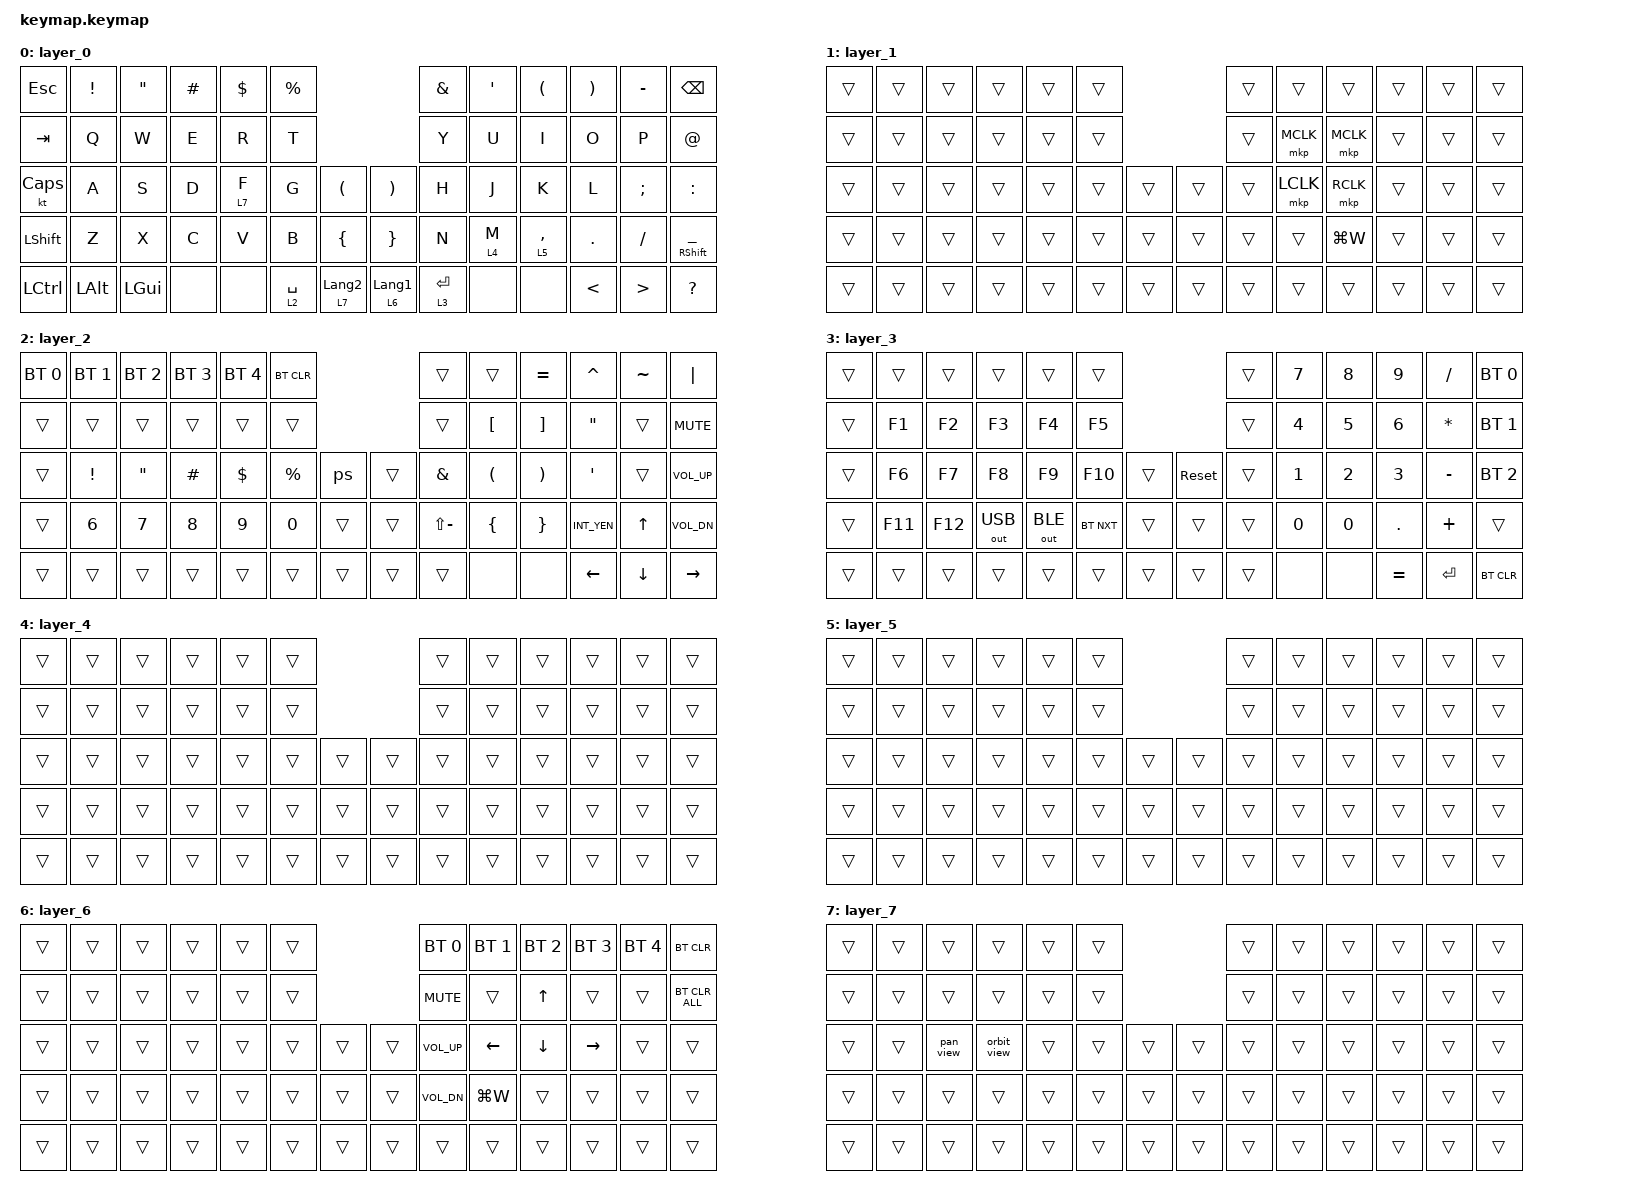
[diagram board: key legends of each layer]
#include <behaviors.dtsi>
#include <dt-bindings/zmk/bt.h>
#include <dt-bindings/zmk/keys.h>
#include <dt-bindings/zmk/outputs.h>
#include <dt-bindings/zmk/pointing.h>

/ {
    combos {
        compatible = "zmk,combos";

        bt_clear {
            bindings = <&bt BT_CLR>;
            key-positions = <28 29>;
            layers = <2>;
        };

        ui {
            bindings = <&bt BT_NXT>;
            key-positions = <19 20>;
        };

        jk {
            bindings = <&bt BT_NXT>;
            key-positions = <33 34>;
        };

        m, {
            bindings = <&bt BT_CLR>;
            key-positions = <47 48>;
        };

        yu {
            bindings = <&none>;
            key-positions = <18 19>;
        };
    };

    macros {
        ps: ps {
            compatible = "zmk,behavior-macro";
            #binding-cells = <0>;
            bindings = <&mkp LCLK &kp X &kp Z &kp K &kp G &kp L &kp N &kp K &kp C &kp D &kp COMMA &kp Z &kp ENTER>;
            label = "PS";
        };

        pan_view: pan_view {
            compatible = "zmk,behavior-macro";
            #binding-cells = <0>;
            bindings =
                <&macro_press>,
                <&mo 7 &mkp MB3>,
                <&macro_pause_for_release>,
                <&macro_release>,
                <&mkp MB3 &mo 7>;
        };

        orbit_view: orbit_view {
            compatible = "zmk,behavior-macro";
            #binding-cells = <0>;
            bindings =
                <&macro_press>,
                <&mo 7 &kp LSHFT &mkp MB3>,
                <&macro_pause_for_release>,
                <&macro_release>,
                <&mkp MB3 &kp LSHFT &mo 7>;
        };
    };

    keymap {
        compatible = "zmk,keymap";

        layer_0 {
            bindings = <
&kp ESC    &kp EXCLAMATION  &kp DOUBLE_QUOTES  &kp HASH  &kp DOLLAR  &kp PERCENT                                               &kp AMPERSAND  &kp SQT  &kp LEFT_PARENTHESIS  &kp RIGHT_PARENTHESIS  &kp MINUS         &kp BSPC
&kp TAB    &kp Q            &kp W              &kp E     &kp R       &kp T                                                     &kp Y          &kp U    &kp I                 &kp O                  &kp P             &kp AT_SIGN
&kt CAPS   &kp A            &kp S              &kp D     &lt 7 F     &kp G        &kp LEFT_PARENTHESIS  &kp RIGHT_PARENTHESIS  &kp H          &kp J    &kp K                 &kp L                  &kp SEMI          &kp COLON
&kp LSHFT  &kp Z            &kp X              &kp C     &kp V       &kp B        &kp LEFT_BRACE        &kp RIGHT_BRACE        &kp N          &lt 4 M  &lt 5 COMMA           &kp DOT                &kp SLASH         &mt RSHIFT UNDERSCORE
&kp LCTRL  &kp LEFT_ALT     &kp LGUI           &none     &none       &lt 2 SPACE  &lt 7 LANGUAGE_2      &lt 6 LANGUAGE_1       &lt 3 ENTER    &none    &none                 &kp LESS_THAN          &kp GREATER_THAN  &kp QUESTION
            >;
        };

        layer_1 {
            bindings = <
&trans  &trans  &trans  &trans  &trans  &trans                  &trans  &trans     &trans     &trans  &trans  &trans
&trans  &trans  &trans  &trans  &trans  &trans                  &trans  &mkp MCLK  &mkp MCLK  &trans  &trans  &trans
&trans  &trans  &trans  &trans  &trans  &trans  &trans  &trans  &trans  &mkp LCLK  &mkp RCLK  &trans  &trans  &trans
&trans  &trans  &trans  &trans  &trans  &trans  &trans  &trans  &trans  &trans     &kp LG(W)  &trans  &trans  &trans
&trans  &trans  &trans  &trans  &trans  &trans  &trans  &trans  &trans  &trans     &trans     &trans  &trans  &trans
            >;
        };

        layer_2 {
            bindings = <
&bt BT_SEL 0  &bt BT_SEL 1     &bt BT_SEL 2       &bt BT_SEL 3  &bt BT_SEL 4  &bt BT_CLR                   &trans         &trans                &kp EQUAL              &kp CARET          &kp TILDE     &kp PIPE
&trans        &trans           &trans             &trans        &trans        &trans                       &trans         &kp LEFT_BRACKET      &kp RIGHT_BRACKET      &kp DOUBLE_QUOTES  &trans        &kp K_MUTE
&trans        &kp EXCLAMATION  &kp DOUBLE_QUOTES  &kp HASH      &kp DOLLAR    &kp PERCENT  &ps     &trans  &kp AMPERSAND  &kp LEFT_PARENTHESIS  &kp RIGHT_PARENTHESIS  &kp SINGLE_QUOTE   &trans        &kp C_VOLUME_UP
&trans        &kp N6           &kp N7             &kp N8        &kp N9        &kp N0       &trans  &trans  &kp LS(MINUS)  &kp LEFT_BRACE        &kp RIGHT_BRACE        &kp INT_YEN        &kp UP_ARROW  &kp C_VOL_DN
&trans        &trans           &trans             &trans        &trans        &trans       &trans  &trans  &trans         &none                 &none                  &kp LEFT           &kp DOWN      &kp RIGHT
            >;
        };

        layer_3 {
            bindings = <
&trans  &trans   &trans   &trans        &trans        &trans                          &trans  &kp N7        &kp N8        &kp N9        &kp SLASH     &bt BT_SEL 0
&trans  &kp F1   &kp F2   &kp F3        &kp F4        &kp F5                          &trans  &kp NUMBER_4  &kp N5        &kp NUMBER_6  &kp ASTERISK  &bt BT_SEL 1
&trans  &kp F6   &kp F7   &kp F8        &kp F9        &kp F10     &trans  &sys_reset  &trans  &kp NUMBER_1  &kp NUMBER_2  &kp NUMBER_3  &kp MINUS     &bt BT_SEL 2
&trans  &kp F11  &kp F12  &out OUT_USB  &out OUT_BLE  &bt BT_NXT  &trans  &trans      &trans  &kp N0        &kp N0        &kp PERIOD    &kp PLUS      &trans
&trans  &trans   &trans   &trans        &trans        &trans      &trans  &trans      &trans  &none         &none         &kp EQUAL     &kp ENTER     &bt BT_CLR
            >;
        };

        layer_4 {
            bindings = <
&trans  &trans  &trans  &trans  &trans  &trans                  &trans  &trans  &trans  &trans  &trans  &trans
&trans  &trans  &trans  &trans  &trans  &trans                  &trans  &trans  &trans  &trans  &trans  &trans
&trans  &trans  &trans  &trans  &trans  &trans  &trans  &trans  &trans  &trans  &trans  &trans  &trans  &trans
&trans  &trans  &trans  &trans  &trans  &trans  &trans  &trans  &trans  &trans  &trans  &trans  &trans  &trans
&trans  &trans  &trans  &trans  &trans  &trans  &trans  &trans  &trans  &trans  &trans  &trans  &trans  &trans
            >;
        };

        layer_5 {
            bindings = <
&trans  &trans  &trans  &trans  &trans  &trans                  &trans  &trans  &trans  &trans  &trans  &trans
&trans  &trans  &trans  &trans  &trans  &trans                  &trans  &trans  &trans  &trans  &trans  &trans
&trans  &trans  &trans  &trans  &trans  &trans  &trans  &trans  &trans  &trans  &trans  &trans  &trans  &trans
&trans  &trans  &trans  &trans  &trans  &trans  &trans  &trans  &trans  &trans  &trans  &trans  &trans  &trans
&trans  &trans  &trans  &trans  &trans  &trans  &trans  &trans  &trans  &trans  &trans  &trans  &trans  &trans
            >;
        };

        layer_6 {
            bindings = <
&trans  &trans  &trans  &trans  &trans  &trans                  &bt BT_SEL 0     &bt BT_SEL 1  &bt BT_SEL 2  &bt BT_SEL 3  &bt BT_SEL 4  &bt BT_CLR
&trans  &trans  &trans  &trans  &trans  &trans                  &kp K_MUTE       &trans        &kp UP_ARROW  &trans        &trans        &bt BT_CLR_ALL
&trans  &trans  &trans  &trans  &trans  &trans  &trans  &trans  &kp C_VOLUME_UP  &kp LEFT      &kp DOWN      &kp RIGHT     &trans        &trans
&trans  &trans  &trans  &trans  &trans  &trans  &trans  &trans  &kp C_VOL_DN     &kp LG(W)     &trans        &trans        &trans        &trans
&trans  &trans  &trans  &trans  &trans  &trans  &trans  &trans  &trans           &trans        &trans        &trans        &trans        &trans
            >;
        };

        layer_7 {
            bindings = <
&trans  &trans  &trans     &trans       &trans  &trans                  &trans  &trans  &trans  &trans  &trans  &trans
&trans  &trans  &trans     &trans       &trans  &trans                  &trans  &trans  &trans  &trans  &trans  &trans
&trans  &trans  &pan_view  &orbit_view  &trans  &trans  &trans  &trans  &trans  &trans  &trans  &trans  &trans  &trans
&trans  &trans  &trans     &trans       &trans  &trans  &trans  &trans  &trans  &trans  &trans  &trans  &trans  &trans
&trans  &trans  &trans     &trans       &trans  &trans  &trans  &trans  &trans  &trans  &trans  &trans  &trans  &trans
            >;
        };
    };
};
